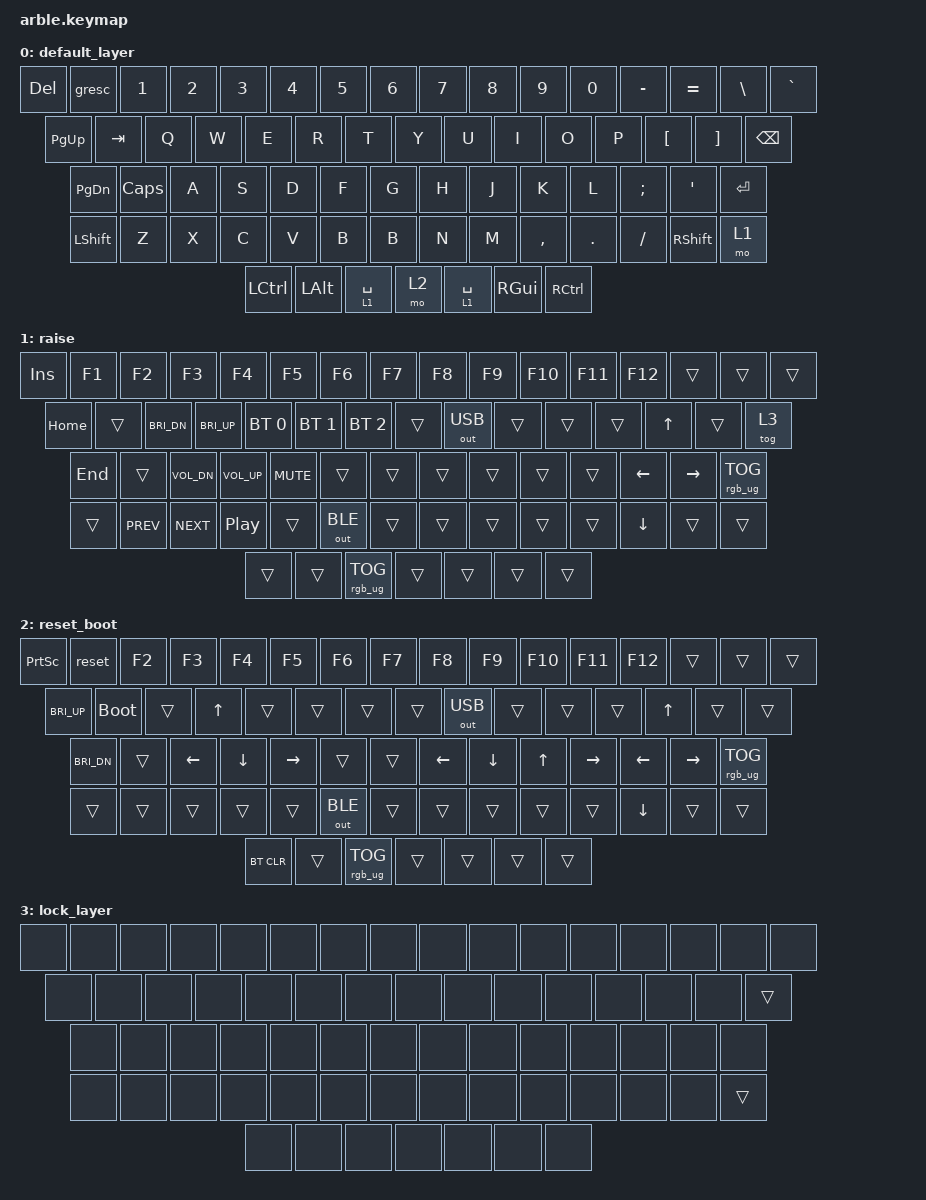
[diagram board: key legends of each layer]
/*
 * Copyright (c) 2021 Nick Winans
 *
 * SPDX-License-Identifier: MIT
 */

#include <behaviors.dtsi>
#include <dt-bindings/zmk/keys.h>
#include <dt-bindings/zmk/rgb.h>
#include <dt-bindings/zmk/bt.h>
#include <dt-bindings/zmk/outputs.h>
#include <dt-bindings/zmk/ext_power.h>


/ {
  keymap {
    compatible = "zmk,keymap";
    
    default_layer {
        // ----------------------------------------------------------------------------------------------------------
        // | DEL  | ESC |  1  |  2  |  3  |  4  |  5  |  6  |  7  |  8  |  9  |  0  |  -  |  =  |  BSLH  |   GRAVE   |
        // | PG_UP  | TAB  |  Q  |  W  |  E  |  R  |  T  |  Y  |  U  |  I  |  O  |  P  |  [  |  ]  |  BSPC   | 
        // | PG_DN  | CAPS   |  A  |  S  |  D  |  F  |  G  |  H  |  J  |  K  |  L  |  ;  |  '  |        ENTER        |
        // |     |  SHIFT  |  Z  |  X  |  C  |  V  |  B  |  B  |  N  |  M  |  ,  |  .  |  /  |   SHIFT   |  MO(1) |
        // |     |  CTL  |       |  ALT  |  SPACE  |  MO(2)  |        |  SPACE  |  WIN  |               |   CTL   |
        // ----------------------------------------------------------------------------------------------------------
      bindings = <
        &kp DEL  &gresc  &kp N1  &kp N2  &kp N3  &kp N4  &kp N5  &kp N6  &kp N7  &kp N8  &kp N9  &kp N0  &kp MINUS  &kp EQUAL  &kp BSLH  &kp GRAVE
        &kp PG_UP  &kp TAB  &kp Q  &kp W  &kp E  &kp R  &kp T  &kp Y  &kp U  &kp I  &kp O  &kp P  &kp LBKT  &kp RBKT  &kp BSPC
        &kp PG_DN  &kp CLCK  &kp A  &kp S  &kp D  &kp F  &kp G  &kp H  &kp J  &kp K  &kp L  &kp SEMI  &kp SQT  &kp RET
                &kp LSHFT  &kp Z  &kp X  &kp C  &kp V  &kp B  &kp B  &kp N  &kp M  &kp COMMA  &kp DOT  &kp FSLH  &kp RSHFT  &mo 1
                &kp LCTRL  &kp LALT  &lt 1 SPACE  &mo 2  &lt 1 SPACE  &kp RGUI  &kp RCTRL
      >;
    };

    raise {
        // --------------------------------------------------------------------------------------------------------------
        // |  INS  |     |     |     |     |     |     |     |     |     |     |     |     |     |     |
        // |  HOME  |     |C_BRI_DN|C_BRI_UP| BT 0 | BT 1 | BT 2 |     |     |     |     |     |     |TOG 3|
        // |  END |     |C_VOL_DN|C_VOL_UP|C_MUTE|     |     |     |     |     |     |     |     |     |
        // |       |     |C_PREV|C_NEXT|C_PP|     |     |     |     |     |     |     |     |     |
        // |       |     |     |                            RGB TOG                        |     |     | DEL |     |
        // ---------------------------------------------------------------------------------------------------------------
      bindings = <
        &kp INS   &kp F1   &kp F2   &kp F3   &kp F4    &kp F5   &kp F6    &kp F7   &kp F8    &kp F9   &kp F10   &kp F11  &kp F12   &trans   &trans  &trans
        &kp HOME  &trans   &kp C_BRI_DN    &kp C_BRI_UP   &bt BT_SEL 0    &bt BT_SEL 1   &bt BT_SEL 2    &trans   &out OUT_USB      &trans   &trans    &trans   &kp UP   &trans   &tog 3
        &kp END  &trans   &kp C_VOL_DN  &kp C_VOL_UP &kp C_MUTE &trans    &trans   &trans  &trans &trans   &trans   &kp LEFT   &kp RIGHT    &rgb_ug RGB_TOG 
                      &trans   &kp C_PREV    &kp C_NEXT   &kp C_PP    &trans   &out OUT_BLE    &trans   &trans    &trans   &trans    &trans    &kp DOWN  &trans   &trans
                      &trans   &trans    &rgb_ug RGB_TOG    &trans   &trans    &trans   &trans
      >;
    };
    
    reset_boot {
        // --------------------------------------------------------------------------------------------------------------
        // | PSCRN | RST |     |     |     |     |     |     |     |     |     |     |     |     |     |
        // |C_BRI_UP| BOOT|     |     |     |     |     |     |     |     |     |     |     |     |     |
        // |C_BRI_DN|     |     |     |     |     |     |     |     |     |     |     |     |     |
        // |       |     |     |     |     |     |     |     |     |     |     |     |     |     |
        // |       |BT_CLR|     |                                               |     |     |     |     |
        // ---------------------------------------------------------------------------------------------------------------
      bindings = <
        &kp PSCRN    &reset   &kp F2   &kp F3   &kp F4    &kp F5   &kp F6    &kp F7   &kp F8    &kp F9   &kp F10   &kp F11  &kp F12   &trans   &trans  &trans
        &kp C_BRI_UP  &bootloader   &trans    &kp UP   &trans    &trans   &trans    &trans   &out OUT_USB      &trans   &trans    &trans   &kp UP   &trans   &trans
        &kp C_BRI_DN  &trans   &kp LEFT  &kp DOWN &kp RIGHT &trans    &trans   &kp LEFT  &kp DOWN &kp UP   &kp RIGHT   &kp LEFT   &kp RIGHT    &rgb_ug RGB_TOG 
                      &trans   &trans    &trans   &trans    &trans   &out OUT_BLE    &trans   &trans    &trans   &trans    &trans    &kp DOWN  &trans   &trans
                      &bt BT_CLR   &trans    &rgb_ug RGB_TOG    &trans   &trans    &trans   &trans 
      >;
    };
    
    lock_layer {
      bindings = <
        &none    &none   &none   &none   &none    &none   &none    &none   &none    &none   &none   &none  &none   &none   &none  &none
        &none  &none   &none    &none   &none    &none   &none    &none   &none      &none   &none    &none   &none   &none   &trans
        &none  &none   &none  &none  &none  &none    &none   &none  &none  &none   &none   &none   &none    &none
                      &none   &none    &none   &none    &none   &none    &none   &none    &none   &none    &none    &none  &none   &trans
                      &none   &none    &none    &none   &none    &none   &none 
      >;
    };
  };
}; 
